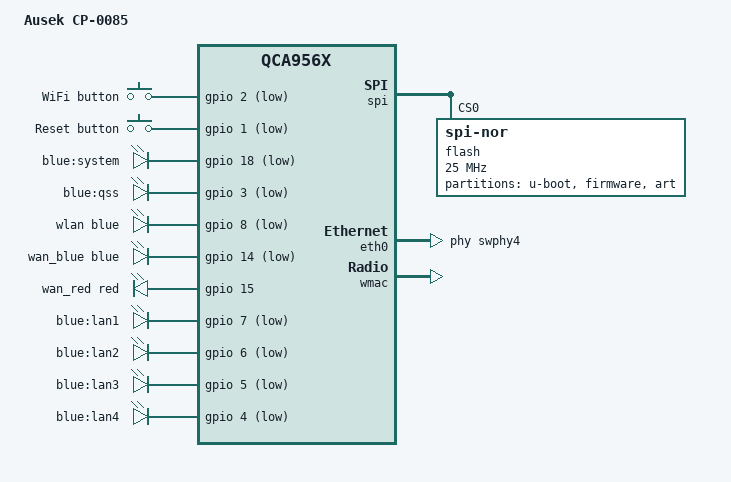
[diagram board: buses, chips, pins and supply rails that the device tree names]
// SPDX-License-Identifier: GPL-2.0-or-later OR MIT

#include <dt-bindings/leds/common.h>

#include "qca956x.dtsi"

#include <dt-bindings/gpio/gpio.h>
#include <dt-bindings/input/input.h>

/ {
	aliases {
		label-mac-device = &wmac;
	};
};

&spi {
	status = "okay";

	flash@0 {
		compatible = "jedec,spi-nor";
		reg = <0>;
		spi-max-frequency = <25000000>;

		partitions {
			compatible = "fixed-partitions";
			#address-cells = <1>;
			#size-cells = <1>;

			uboot: partition@0 {
				label = "u-boot";
				reg = <0x000000 0x020000>;
				read-only;

				nvmem-layout {
					compatible = "fixed-layout";
					#address-cells = <1>;
					#size-cells = <1>;

					macaddr_uboot_1fc00: macaddr@1fc00 {
						compatible = "mac-base";
						reg = <0x1fc00 0x6>;
						#nvmem-cell-cells = <1>;
					};
				};
			};

			partition@20000 {
				compatible = "tplink,firmware";
				label = "firmware";
				reg = <0x020000 0x3d0000>;
			};

			partition@3f0000 {
				label = "art";
				reg = <0x3f0000 0x010000>;
				read-only;

				nvmem-layout {
					compatible = "fixed-layout";
					#address-cells = <1>;
					#size-cells = <1>;

					cal_art_1000: calibration@1000 {
						reg = <0x1000 0x440>;
					};
				};
			};
		};
	};
};

&eth0 {
	status = "okay";

	phy-handle = <&swphy4>;

	nvmem-cells = <&macaddr_uboot_1fc00 1>;
	nvmem-cell-names = "mac-address";
};

&wmac {
	status = "okay";

	nvmem-cells = <&macaddr_uboot_1fc00 0>, <&cal_art_1000>;
	nvmem-cell-names = "mac-address", "calibration";
};

/ {
	keys {
		compatible = "gpio-keys";

		wifi {
			label = "WiFi button";
			linux,code = <KEY_RFKILL>;
			gpios = <&gpio 2 GPIO_ACTIVE_LOW>;
		};

		reset {
			label = "Reset button";
			linux,code = <KEY_RESTART>;
			gpios = <&gpio 1 GPIO_ACTIVE_LOW>;
		};
	};
};

/ {
	aliases {
		led-boot = &led_system;
		led-failsafe = &led_system;
		led-running = &led_system;
		led-upgrade = &led_system;
	};

	leds {
		compatible = "gpio-leds";

		led_system: system {
			label = "blue:system";
			gpios = <&gpio 18 GPIO_ACTIVE_LOW>;
			default-state = "on";
		};

		qss {
			label = "blue:qss";
			gpios = <&gpio 3 GPIO_ACTIVE_LOW>;
		};

		wlan {
			function = LED_FUNCTION_WLAN;
			color = <LED_COLOR_ID_BLUE>;
			gpios = <&gpio 8 GPIO_ACTIVE_LOW>;
			linux,default-trigger = "phy0tpt";
		};

		wan_blue {
			function = LED_FUNCTION_WAN;
			color = <LED_COLOR_ID_BLUE>;
			gpios = <&gpio 14 GPIO_ACTIVE_LOW>;
		};

		wan_red {
			function = LED_FUNCTION_WAN;
			color = <LED_COLOR_ID_RED>;
			gpios = <&gpio 15 GPIO_ACTIVE_HIGH>;
		};

		lan1 {
			label = "blue:lan1";
			gpios = <&gpio 7 GPIO_ACTIVE_LOW>;
		};

		lan2 {
			label = "blue:lan2";
			gpios = <&gpio 6 GPIO_ACTIVE_LOW>;
		};

		lan3 {
			label = "blue:lan3";
			gpios = <&gpio 5 GPIO_ACTIVE_LOW>;
		};

		lan4 {
			label = "blue:lan4";
			gpios = <&gpio 4 GPIO_ACTIVE_LOW>;
		};
	};
};

/ {
	compatible = "tplink,ausek-cp-0085", "qca,tp9343";
	model = "Ausek CP-0085";
};
